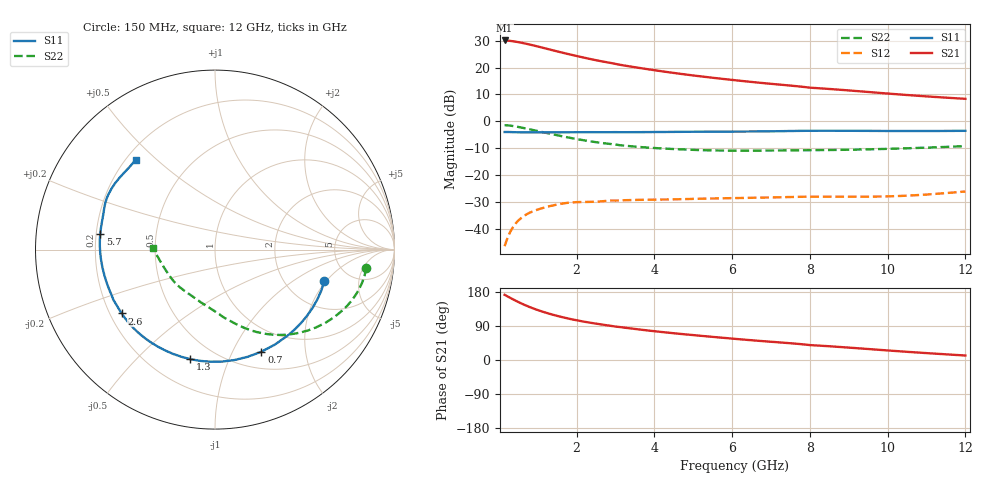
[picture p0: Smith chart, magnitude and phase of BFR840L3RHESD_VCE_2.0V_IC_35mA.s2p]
! Infineon Technologies  Discrete & RF Semiconductors
! BFR840L3RHESD
! VCE =  2.0 V,  IC =  35 mA
! Common Emitter S-Parameters:  Jun 2012
# GHz  S  MA  R  50
!  f  S11  S21  S12  S22
! GHz  MAG  ANG  MAG  ANG  MAG  ANG  MAG  ANG
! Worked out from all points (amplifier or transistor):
!   91 points, 150 MHz to 12 GHz, reference 50 ohm
!   highest |S21| = 30.1 dB at 150 MHz (marker M1)
!   |S21| within 3 dB of that: start of sweep to 1.212 GHz
!   unconditionally stable (mu >= 1): 5.029 GHz to end of sweep
!   at 1.3 GHz: K = 0.34, MSG = 29.1 dB, |S12| = -31.5 dB
!   at 4.3 GHz: K = 0.87, MSG = 23.7 dB, |S12| = -29.0 dB
!   at 12 GHz: K = 2.00, MAG = 11.5 dB, |S12| = -26.1 dB
!   S11 on the Smith chart (normalised r, x): 150 MHz: 3.27, -1.91; 700 MHz: 0.70, -1.30; 1.3 GHz: 0.37, -0.73; 2.6 GHz: 0.25, -0.29; 5.7 GHz: 0.22, +0.07; 12 GHz: 0.24, +0.43
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0.15  0.6342 -16.0  31.9 172.1  0.0048 73.8  0.8493 -6.8
0.3  0.6331 -30.9  31.29 163.7  0.009 69.3  0.8323 -15.4
0.45  0.6287 -44.9  30.14 155.7  0.0131 64.7  0.8009 -22.9
0.6  0.6257 -57.7  28.75 148.3  0.0166 60.7  0.7632 -29.6
0.7  0.6248 -65.6  27.75 143.8  0.0185 58.1  0.7371 -33.7
0.8  0.6245 -73.0  26.73 139.5  0.0202 55.6  0.7112 -37.5
1  0.625 -86.2  24.68 131.9  0.023 50.5  0.6615 -44.4
1.3  0.6257 -102.7  21.76 122.1  0.0265 43.8  0.5936 -53.2
1.5  0.6262 -111.9  20.01 116.5  0.0285 40.4  0.5532 -58.3
1.7  0.6273 -119.9  18.45 111.5  0.0302 37.9  0.5168 -62.9
1.9  0.6287 -126.9  17.06 106.9  0.0312 36.2  0.4845 -67.0
2.2  0.6304 -135.9  15.24 101.0  0.0318 34.3  0.4437 -72.4
2.6  0.6298 -145.6  13.26 94.4  0.0325 31.1  0.4016 -78.8
3  0.6317 -153.8  11.71 88.3  0.0338 29.4  0.372 -84.2
3.3  0.6299 -159.2  10.71 84.5  0.0344 28.4  0.3503 -88.5
4.2  0.6353 -171.8  8.518 73.8  0.0353 28.0  0.3141 -100.0
5.7  0.6453 172.1  6.23 59.2  0.0372 28.7  0.2873 -118.7
6.1  0.647 168.5  5.794 55.6  0.0376 28.9  0.2857 -123.6
8  0.6687 152.9  4.234 39.4  0.0398 31.6  0.2915 -147.9
8.5  0.6693 149.8  4.004 36.3  0.0399 31.9  0.2937 -152.4
10.5  0.6622 137.8  3.09 21.6  0.0416 40.0  0.3164 -170.5
12  0.6675 131.4  2.625 11.8  0.0498 45.6  0.3473 178.8
